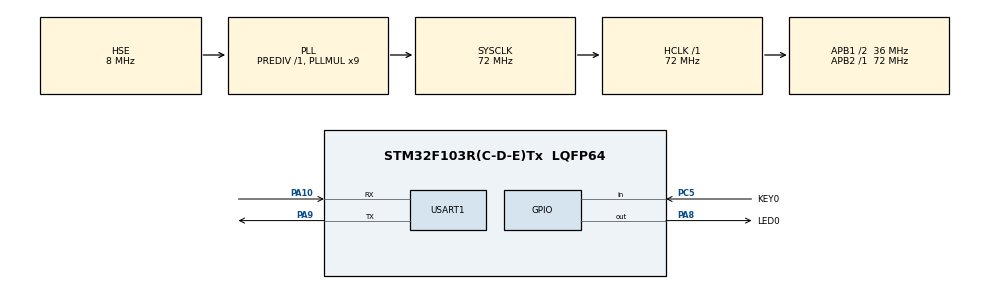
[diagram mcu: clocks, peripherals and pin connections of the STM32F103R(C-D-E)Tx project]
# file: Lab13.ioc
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Dma.Request0=USART1_TX
Dma.Request1=USART1_RX
Dma.USART1_RX.1.Direction=DMA_PERIPH_TO_MEMORY
Dma.USART1_RX.1.Instance=DMA1_Channel5
Dma.USART1_RX.1.MemDataAlignment=DMA_MDATAALIGN_BYTE
Dma.USART1_RX.1.MemInc=DMA_MINC_ENABLE
Dma.USART1_RX.1.Mode=DMA_NORMAL
Dma.USART1_RX.1.PeriphDataAlignment=DMA_PDATAALIGN_BYTE
Dma.USART1_RX.1.PeriphInc=DMA_PINC_DISABLE
Dma.USART1_RX.1.Priority=DMA_PRIORITY_MEDIUM
Dma.USART1_TX.0.Direction=DMA_MEMORY_TO_PERIPH
Dma.USART1_TX.0.Instance=DMA1_Channel4
Dma.USART1_TX.0.MemDataAlignment=DMA_MDATAALIGN_BYTE
Dma.USART1_TX.0.MemInc=DMA_MINC_ENABLE
Dma.USART1_TX.0.Mode=DMA_NORMAL
Dma.USART1_TX.0.PeriphDataAlignment=DMA_PDATAALIGN_BYTE
Dma.USART1_TX.0.PeriphInc=DMA_PINC_DISABLE
Dma.USART1_TX.0.Priority=DMA_PRIORITY_MEDIUM
Mcu.Family=STM32F1
Mcu.Name=STM32F103R(C-D-E)Tx
Mcu.Package=LQFP64
NVIC.DMA1_Channel4_IRQn=true\:1\:0\:true\:false\:true\:false\:true\:true
NVIC.DMA1_Channel5_IRQn=true\:0\:0\:false\:false\:true\:false\:true\:true
NVIC.PriorityGroup=NVIC_PRIORITYGROUP_2
NVIC.USART1_IRQn=true\:1\:0\:true\:false\:true\:true\:true\:true
PA10.Mode=Asynchronous
PA10.Signal=USART1_RX
PA13.Mode=Serial_Wire
PA13.Signal=SYS_JTMS-SWDIO
PA14.Mode=Serial_Wire
PA14.Signal=SYS_JTCK-SWCLK
PA8.GPIO_Label=LED0
PA8.Signal=GPIO_Output
PA9.Mode=Asynchronous
PA9.Signal=USART1_TX
PC5.GPIO_Label=KEY0
PC5.Signal=GPIO_Input
PD0-OSC_IN.Mode=HSE-External-Oscillator
PD0-OSC_IN.Signal=RCC_OSC_IN
PD1-OSC_OUT.Mode=HSE-External-Oscillator
PD1-OSC_OUT.Signal=RCC_OSC_OUT
ProjectManager.HeapSize=0x200
ProjectManager.StackSize=0x400
ProjectManager.TargetToolchain=STM32CubeIDE
RCC.AHBFreq_Value=72000000
RCC.APB1CLKDivider=RCC_HCLK_DIV2
RCC.APB1Freq_Value=36000000
RCC.APB1TimFreq_Value=72000000
RCC.APB2Freq_Value=72000000
RCC.APB2TimFreq_Value=72000000
RCC.HCLKFreq_Value=72000000
RCC.PLLMUL=RCC_PLL_MUL9
RCC.PLLSourceVirtual=RCC_PLLSOURCE_HSE
RCC.SYSCLKFreq_VALUE=72000000
RCC.SYSCLKSource=RCC_SYSCLKSOURCE_PLLCLK
RCC.USBFreq_Value=72000000
USART1.VirtualMode=VM_ASYNC
board=custom

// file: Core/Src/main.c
/* USER CODE BEGIN Header */
/**
  ******************************************************************************
  * @file           : main.c
  * @brief          : Main program body
  ******************************************************************************
  * @attention
  *
  * <h2><center>&copy; Copyright (c) 2023 STMicroelectronics.
  * All rights reserved.</center></h2>
  *
  * This software component is licensed by ST under BSD 3-Clause license,
  * the "License"; You may not use this file except in compliance with the
  * License. You may obtain a copy of the License at:
  *                        opensource.org/licenses/BSD-3-Clause
  *
  ******************************************************************************
  */
/* USER CODE END Header */
#include "main.h"

/* USER CODE BEGIN Includes */
#include "lcd.h"
//#include "lcd_v4.h"
#include "stm32f1xx_hal_dma_ex.h"
#include <string.h>
/* USER CODE END Includes */

extern UART_HandleTypeDef huart1;
extern DMA_HandleTypeDef hdma_usart1_tx;

/* USER CODE BEGIN PV */

int recv_end_flag = 0;
int rx_len = 0;

#define BUFFER_SIZE 1024
uint8_t rx_buffer[BUFFER_SIZE];           /* 发送数据缓冲区 */

/* USER CODE END PV */

void SystemClock_Config(void);

static void MX_GPIO_Init(void);

static void MX_DMA_Init(void);

static void MX_USART1_UART_Init(void);

int main(void) {

    /* MCU Configuration--------------------------------------------------------*/

    /* Reset of all peripherals, Initializes the Flash interface and the Systick. */
    HAL_Init();

    /* Configure the system clock */
    SystemClock_Config();

    /* Initialize all configured peripherals */
    MX_GPIO_Init();
    MX_DMA_Init();
    MX_USART1_UART_Init();
    /* USER CODE BEGIN 2 */

    uint16_t i, k;
    uint16_t len;
    uint8_t mask = 0;
    float pro = 0;          /* 进度 */

    LCD_Init();
    LCD_ShowString(30, 50, 200, 16, 16, "CS301");
    LCD_ShowString(30, 70, 200, 16, 16, "DMA TEST");

    /* USER CODE END 2 */

    /* Infinite loop */
    /* USER CODE BEGIN WHILE */
//  while (1)
//  {
//    /* USER CODE END WHILE */
//
//	  /* USER CODE BEGIN 3 */
//	  if (HAL_GPIO_ReadPin(KEY0_GPIO_Port, KEY0_Pin) == GPIO_PIN_RESET)       /* KEY0按下 */
//	  {
//	      LCD_ShowString(30, 130, 200, 16, 16, "Start Transimit....");
//	      LCD_ShowString(30, 150, 200, 16, 16, "   %");    /* 显示百分号 */
////	      lcd_show_string(30, 130, 200, 16, 16, "Start Transimit....", BLUE);
////	      lcd_show_string(30, 150, 200, 16, 16, "   %", BLUE);    /* 显示百分号 */
//
//	      HAL_UART_Transmit_DMA(&huart1, g_sendbuf, SEND_BUF_SIZE);
//	      /* 等待DMA传输完成，此时CPU空闲，可以处理其他任务
//	       * 实际应用中，传输数据期间，可以执行另外的任务
//	       */
//
//	      while (1)
//	      {
//	          /* 等待 DMA1_Channel4 传输完成 */
//	          if ( __HAL_DMA_GET_FLAG(&hdma_usart1_tx, DMA_FLAG_TC4))  /* 等待 DMA1_Channel4 传输完成 */
//	          {
//	              __HAL_DMA_CLEAR_FLAG(&hdma_usart1_tx, DMA_FLAG_TC4); /* 清除 DMA1_Channel4 传输完成标志 */
//	              HAL_UART_DMAStop(&huart1);       /* 传输完成以后关闭串口DMA */
//	              break;
//	          }
//
//	          pro = __HAL_DMA_GET_COUNTER(&hdma_usart1_tx); /* 得到当前还剩余多少个数据 */
//	          len = SEND_BUF_SIZE;        /* 总长度 */
//	          pro = 1 - (pro / len);      /* 得到百分比 */
//	          pro *= 100;                 /* 扩大100倍 */
//	          LCD_ShowNum(30, 150, pro, 3, 16);
////	          lcd_show_num(30, 150, pro, 3, 16, BLUE);
//	      }
//	      LCD_ShowNum(30, 150, 100, 3, 16);    /* 显示100% */
//	      LCD_ShowString(30, 130, 200, 16, 16, "Transimit Finished!"); /* 提示传送完成 */
////	      lcd_show_num(30, 150, 100, 3, 16, BLUE);    /* 显示100% */
////	      lcd_show_string(30, 130, 200, 16, 16, "Transimit Finished!", BLUE); /* 提示传送完成 */
//	  }
//  }

    while (1) {
        if (recv_end_flag) {
            recv_end_flag = 0;
            HAL_UART_Transmit_DMA(&huart1, rx_buffer, BUFFER_SIZE);
            LCD_ShowString(30, 110, 200, 16, 16, "The data is: ");
            LCD_ShowString(30, 130, 200, 16, 16, rx_buffer);
            memset(rx_buffer, 0, rx_len);
            rx_len = 0;
        }
        HAL_UART_Receive_DMA(&huart1, rx_buffer, BUFFER_SIZE);
    }
    /* USER CODE END 3 */
}

void SystemClock_Config(void) {
    RCC_OscInitTypeDef RCC_OscInitStruct = {0};
    RCC_ClkInitTypeDef RCC_ClkInitStruct = {0};

    /** Initializes the RCC Oscillators according to the specified parameters
    * in the RCC_OscInitTypeDef structure.
    */
    RCC_OscInitStruct.OscillatorType = RCC_OSCILLATORTYPE_HSE;
    RCC_OscInitStruct.HSEState = RCC_HSE_ON;
    RCC_OscInitStruct.HSEPredivValue = RCC_HSE_PREDIV_DIV1;
    RCC_OscInitStruct.HSIState = RCC_HSI_ON;
    RCC_OscInitStruct.PLL.PLLState = RCC_PLL_ON;
    RCC_OscInitStruct.PLL.PLLSource = RCC_PLLSOURCE_HSE;
    RCC_OscInitStruct.PLL.PLLMUL = RCC_PLL_MUL9;
    if (HAL_RCC_OscConfig(&RCC_OscInitStruct) != HAL_OK) {
        Error_Handler();
    }
    /** Initializes the CPU, AHB and APB buses clocks
    */
    RCC_ClkInitStruct.ClockType = RCC_CLOCKTYPE_HCLK | RCC_CLOCKTYPE_SYSCLK
                                  | RCC_CLOCKTYPE_PCLK1 | RCC_CLOCKTYPE_PCLK2;
    RCC_ClkInitStruct.SYSCLKSource = RCC_SYSCLKSOURCE_PLLCLK;
    RCC_ClkInitStruct.AHBCLKDivider = RCC_SYSCLK_DIV1;
    RCC_ClkInitStruct.APB1CLKDivider = RCC_HCLK_DIV2;
    RCC_ClkInitStruct.APB2CLKDivider = RCC_HCLK_DIV1;

    if (HAL_RCC_ClockConfig(&RCC_ClkInitStruct, FLASH_LATENCY_2) != HAL_OK) {
        Error_Handler();
    }
}

static void MX_USART1_UART_Init(void) {

    huart1.Instance = USART1;
    huart1.Init.BaudRate = 115200;
    huart1.Init.WordLength = UART_WORDLENGTH_8B;
    huart1.Init.StopBits = UART_STOPBITS_1;
    huart1.Init.Parity = UART_PARITY_NONE;
    huart1.Init.Mode = UART_MODE_TX_RX;
    huart1.Init.HwFlowCtl = UART_HWCONTROL_NONE;
    huart1.Init.OverSampling = UART_OVERSAMPLING_16;
    if (HAL_UART_Init(&huart1) != HAL_OK) {
        Error_Handler();
    }
    /* USER CODE BEGIN USART1_Init 2 */
    __HAL_UART_ENABLE_IT(&huart1, UART_IT_RXNE);
    __HAL_UART_ENABLE_IT(&huart1, UART_IT_IDLE);
    HAL_UART_Receive_DMA(&huart1, rx_buffer, BUFFER_SIZE);
    /* USER CODE END USART1_Init 2 */

}

static void MX_DMA_Init(void) {

    /* DMA controller clock enable */
    __HAL_RCC_DMA1_CLK_ENABLE();

    /* DMA interrupt init */
    /* DMA1_Channel4_IRQn interrupt configuration */
    HAL_NVIC_SetPriority(DMA1_Channel4_IRQn, 1, 0);
    HAL_NVIC_EnableIRQ(DMA1_Channel4_IRQn);

}

static void MX_GPIO_Init(void) {
    GPIO_InitTypeDef GPIO_InitStruct = {0};

    /* GPIO Ports Clock Enable */
    __HAL_RCC_GPIOD_CLK_ENABLE();
    __HAL_RCC_GPIOC_CLK_ENABLE();
    __HAL_RCC_GPIOA_CLK_ENABLE();

    /*Configure GPIO pin : KEY0_Pin */
    GPIO_InitStruct.Pin = KEY0_Pin;
    GPIO_InitStruct.Mode = GPIO_MODE_INPUT;
    GPIO_InitStruct.Pull = GPIO_PULLUP;
    HAL_GPIO_Init(KEY0_GPIO_Port, &GPIO_InitStruct);

}

void Error_Handler(void) {
    __disable_irq();
    while (1) {
    }
}

/************************ (C) COPYRIGHT STMicroelectronics *****END OF FILE****/
